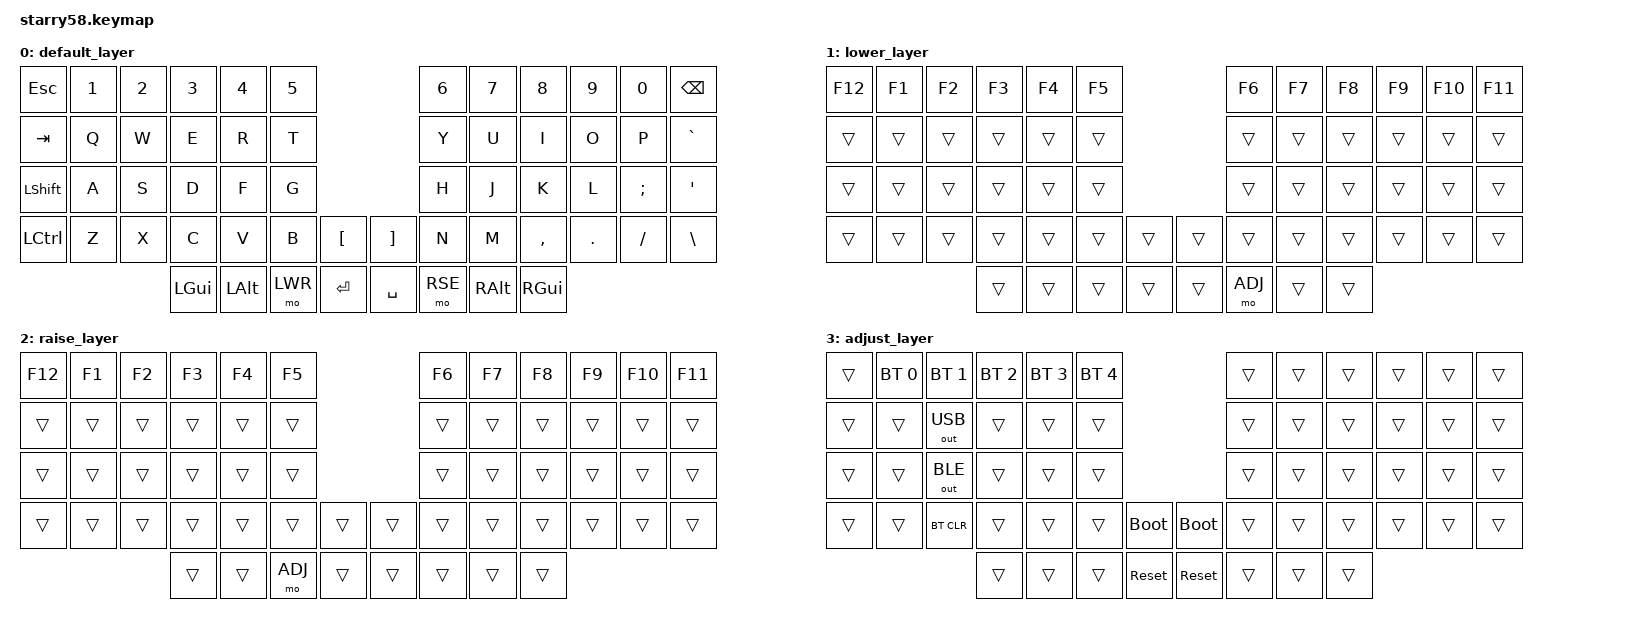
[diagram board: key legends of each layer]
#include <behaviors.dtsi>
#include <dt-bindings/zmk/keys.h>
#include <dt-bindings/zmk/bt.h>
#include <dt-bindings/zmk/outputs.h>

#define DEFAULT 0
#define LWR 1
#define RSE 2
#define ADJ 3

&sl {
        release-after-ms = <5000>;
};


&kscan0 {
        debounce-press-ms = <30>;
        debounce-release-ms = <30>;
};

/ {
        keymap {
                compatible = "zmk,keymap";

                default_layer {
                        bindings = <
                                &kp ESC   &kp N1 &kp N2 &kp N3    &kp N4   &kp N5                               &kp N6   &kp N7   &kp N8    &kp N9   &kp N0    &kp BSPC
                                &kp TAB   &kp Q  &kp W  &kp E     &kp R    &kp T                                &kp Y    &kp U    &kp I     &kp O    &kp P     &kp GRAVE 
                                &kp LSHFT &kp A  &kp S  &kp D     &kp F    &kp G                                &kp H    &kp J    &kp K     &kp L    &kp SEMI  &kp SQT
                                &kp LCTRL &kp Z  &kp X  &kp C     &kp V    &kp B    &kp LBKT       &kp RBKT     &kp N    &kp M    &kp COMMA &kp DOT  &kp FSLH  &kp BSLH
                                                        &kp LGUI  &kp LALT &mo LWR  &kp RET        &kp SPACE    &mo RSE  &kp RALT &kp RGUI
                        >;
                };

                lower_layer {
                        bindings = <
                                &kp F12   &kp F1 &kp F2 &kp F3    &kp F4   &kp F5                               &kp F6   &kp F7  &kp F8    &kp F9    &kp F10  &kp F11
                                &trans    &trans &trans &trans    &trans   &trans                               &trans   &trans  &trans    &trans    &trans   &trans
                                &trans    &trans &trans &trans    &trans   &trans                               &trans   &trans  &trans    &trans    &trans   &trans
                                &trans    &trans &trans &trans    &trans   &trans   &trans         &trans       &trans   &trans  &trans    &trans    &trans   &trans
                                                        &trans    &trans   &trans   &trans         &trans       &mo ADJ  &trans  &trans
                        >;
                };

                raise_layer {
                        bindings = <
                                &kp F12   &kp F1 &kp F2 &kp F3    &kp F4   &kp F5                               &kp F6   &kp F7  &kp F8    &kp F9    &kp F10  &kp F11
                                &trans    &trans &trans &trans    &trans   &trans                               &trans   &trans  &trans    &trans    &trans   &trans
                                &trans    &trans &trans &trans    &trans   &trans                               &trans   &trans  &trans    &trans    &trans   &trans
                                &trans    &trans &trans &trans    &trans   &trans   &trans         &trans       &trans   &trans  &trans    &trans    &trans   &trans
                                                        &trans    &trans   &mo ADJ  &trans         &trans       &trans   &trans  &trans
                        >;
                };

                adjust_layer {
                        bindings = <
                                &trans    &bt BT_SEL 0 &bt BT_SEL 1 &bt BT_SEL 2 &bt BT_SEL 3 &bt BT_SEL 4                         &trans   &trans  &trans    &trans    &trans   &trans
                                &trans    &trans       &out OUT_USB &trans       &trans       &trans                               &trans   &trans  &trans    &trans    &trans   &trans
                                &trans    &trans       &out OUT_BLE &trans       &trans       &trans                               &trans   &trans  &trans    &trans    &trans   &trans
                                &trans    &trans       &bt BT_CLR   &trans       &trans       &trans   &bootloader    &bootloader  &trans   &trans  &trans    &trans    &trans   &trans
                                                                    &trans       &trans       &trans   &sys_reset     &sys_reset   &trans   &trans  &trans
                        >;
                };
        };
};
